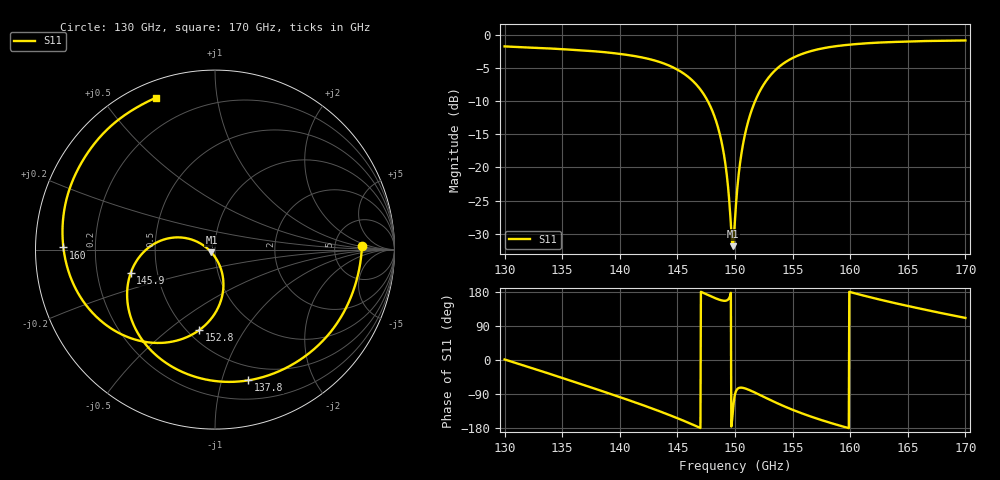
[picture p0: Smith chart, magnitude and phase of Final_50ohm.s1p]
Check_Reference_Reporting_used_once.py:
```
from pathlib import Path
d=Path(__file__).resolve().parent
def adjust(name,pairs):
    f=d/name;s=f.read_text(encoding='utf-8-sig')
    for a,b in pairs:
        if a not in s:raise ValueError(a)
        s=s.replace(a,b)
    f.write_text(s,encoding='utf-8')
adjust('Array_Delivery.py',[
("comparison['broadband_max_complex_difference']=float(max(abs(calc-g)))", """comparison['native_vs_math50_max_complex_difference']=float(max(abs(calc-g)))
    comparison['native_modal_vs_production_max_complex_difference']=float(max(abs(scattering(W/mesh)[1]-g)))
    touch=next(R.glob('CST_50ohm*.s1p'))
    data=np.loadtxt([line for line in touch.read_text(errors='replace').splitlines() if line.strip() and line.lstrip()[0] not in '!#'])
    factor=data[-1,0]/f[-1];assert np.allclose(data[:,0]/factor,f,atol=.0001)
    exported=data[:,1]+1j*data[:,2];comparison['broadband_max_complex_difference']=float(max(abs(calc-exported)))
    comparison['CST_touchstone_header']=next(line for line in touch.read_text().splitlines() if line.strip().startswith('#'))
    comparison['CST_touchstone_s11_150_dB']=20*np.log10(abs(exported[np.argmin(abs(f-150))]))
    comparison['explanation']='Native S1,1 retained the solved modal reference. The CST Touchstone exporter explicitly renormalized the saved result to 50 ohms.'"""),
("abs(fixed['reference_ohm']-50)<1e-8 and comparison['broadband_max_complex_difference']<.005","'50' in comparison['CST_touchstone_header'] and comparison['broadband_max_complex_difference']<.0001"),
("The delivered project has an explicit 50 Ω scattering reference.","The model history requests 50 Ω. The saved S1,1 trace uses the solved port reference. For the exact 50 Ω trace use CST_50ohm.s1p exported by CST with Renormalize enabled."),
("Final50 was solved with explicit 50 Ω normalization.","Final50 was solved with the explicit 50 Ω history setting. The saved modal trace was independently renormalized by CST Touchstone export."),
("To use the exact 50 Ω production setup open the final project.","Open the final project for the production model. Use the CST Touchstone export for the exact 50 Ω curve."),
("Final_50ohm.s1p Independent_Power_Check.json","Final_50ohm.s1p Independent_Power_Check.json"),
("& $cst Array_Line_Mode.py","& $cst Array_Line_Mode.py\n& $cst Array_Touchstone.py")
])
adjust('Array_Report.py',[
("The final solver explicitly uses {a['reference_ohm']:.4f} Ω for its S-parameter reference.","The delivered native S1,1 trace has a solved reference of {a['reference_ohm']:.4f} Ω."),
("Production uses AutoNormImpedance=True and NormingImpedance=50.","The production history explicitly requests AutoNormImpedance=True and NormingImpedance=50. Reading the saved project nevertheless shows an unchanged modal-reference S1,1. The independently verified CST Touchstone export is the authoritative fixed-50-Ω trace."),
])
adjust('Array_Report_Appendix.py',[
("The exact-50-Ω source Final50 retained its geometry and resolution.","The Final50 production source retained its geometry and resolution."),
("recovers the explicit-reference run with maximum complex reflection error","recovers the CST-native 50 Ω Touchstone export with maximum complex reflection error")])
```
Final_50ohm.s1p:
! Final physical CST array, reference plane at input launch
# GHz S RI R 50
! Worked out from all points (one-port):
!   1001 points, 130 GHz to 170 GHz, reference 50 ohm
!   lowest |S11| = -31.9 dB at 149.8 GHz (marker M1), VSWR 1.05, Z = 48 - j1.54 ohm
!   |S11| at or under -10 dB: 147.6 GHz to 151.7 GHz (4.107 GHz wide, 2.74 % of centre)
!   S11 on the Smith chart (normalised r, x): 130 GHz: 9.88, +1.26; 137.8 GHz: 0.36, -1.22; 145.9 GHz: 0.35, -0.12; 152.8 GHz: 0.57, -0.65; 160 GHz: 0.08, +0.01; 170 GHz: 0.07, +0.68
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130  0.8186 0.021
133.56  0.665 -0.4316
137.84  0.1855 -0.7285
143.36  -0.4384 -0.4503
145.88  -0.4692 -0.129
148.48  -0.1953 0.0679
149.12  -0.1034 0.0457
149.8  -0.0198 -0.016
150.92  0.0467 -0.1803
152.76  -0.0879 -0.4485
156.68  -0.6583 -0.3766
160  -0.8447 0.0118
164.24  -0.7494 0.4743
170  -0.3261 0.8474
